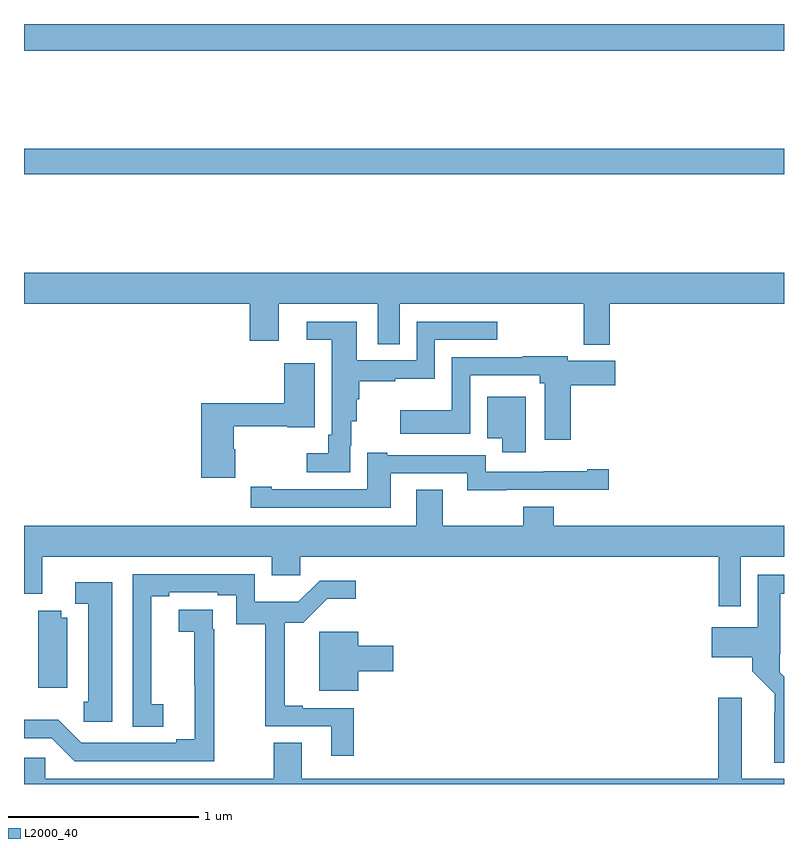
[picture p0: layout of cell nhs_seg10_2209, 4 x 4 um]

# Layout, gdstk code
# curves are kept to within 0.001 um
import gdstk
lib = gdstk.Library(unit=1e-6, precision=1e-09)
def R(c, l, rs):  # rectangles x0, y0, x1, y1
    for r in rs: c.add(gdstk.rectangle(r[:2], r[2:], *l))
def P(c, l, *ps):  # polygons
    for p in ps: c.add(gdstk.Polygon(p, *l))
L2000_40 = (2000, 40)

nhs_seg10_2209 = lib.new_cell('nhs_seg10_2209')
R(nhs_seg10_2209, L2000_40, [(229,1255.708,233,1255.844), (229,1256.36,233,1256.5)])
P(nhs_seg10_2209, L2000_40, [(232.082,1255.028),(233,1255.028),(233,1255.192),(229,1255.192),(229,1255.028),(230.189,1255.028),(230.189,1254.834),(230.341,1254.834),(230.341,1255.028),(230.861,1255.028),(230.861,1254.814),(230.977,1254.814),(230.977,1255.028),(231.946,1255.028),(231.946,1254.812),(232.082,1254.812)],
  [(230.718,1254.279),(230.723,1254.279),(230.723,1254.41),(230.752,1254.41),(230.752,1254.525),(230.765,1254.525),(230.765,1254.621),(230.954,1254.621),(230.954,1254.632),(231.162,1254.632),(231.162,1254.837),(231.49,1254.837),(231.49,1254.933),(231.066,1254.933),(231.066,1254.729),(230.752,1254.729),(230.752,1254.933),(230.487,1254.933),(230.487,1254.837),(230.621,1254.837),(230.621,1254.337),(230.602,1254.337),(230.602,1254.241),(230.487,1254.241),(230.487,1254.14),(230.718,1254.14)],
  [(231.878,1254.598),(232.111,1254.598),(232.111,1254.727),(231.861,1254.727),(231.861,1254.752),(231.626,1254.752),(231.626,1254.747),(231.252,1254.747),(231.252,1254.466),(230.979,1254.466),(230.979,1254.344),(231.348,1254.344),(231.348,1254.651),(231.715,1254.651),(231.715,1254.609),(231.74,1254.609),(231.74,1254.312),(231.878,1254.312)],
  [(230.112,1254.261),(230.104,1254.261),(230.104,1254.384),(230.385,1254.384),(230.385,1254.377),(230.53,1254.377),(230.53,1254.715),(230.369,1254.715),(230.369,1254.505),(229.934,1254.505),(229.934,1254.111),(230.112,1254.111)],
  [(231.64,1254.538),(231.437,1254.538),(231.437,1254.32),(231.518,1254.32),(231.518,1254.246),(231.64,1254.246)],
  [(230.929,1254.135),(231.333,1254.135),(231.333,1254.047),(231.539,1254.047),(231.539,1254.048),(232.078,1254.048),(232.078,1254.157),(231.965,1254.157),(231.965,1254.145),(231.736,1254.145),(231.736,1254.144),(231.429,1254.144),(231.429,1254.231),(230.911,1254.231),(230.911,1254.244),(230.807,1254.244),(230.807,1254.051),(230.305,1254.051),(230.305,1254.064),(230.193,1254.064),(230.193,1253.955),(230.929,1253.955)],
  [(232.773,1253.696),(233,1253.696),(233,1253.86),(231.788,1253.86),(231.788,1253.959),(231.628,1253.959),(231.628,1253.86),(231.205,1253.86),(231.205,1254.05),(231.065,1254.05),(231.065,1253.86),(229,1253.86),(229,1253.502),(229.096,1253.502),(229.096,1253.696),(230.303,1253.696),(230.303,1253.598),(230.455,1253.598),(230.455,1253.696),(232.657,1253.696),(232.657,1253.436),(232.773,1253.436)],
  [(230.735,1252.899),(230.467,1252.899),(230.467,1252.912),(230.372,1252.912),(230.372,1253.349),(230.471,1253.349),(230.597,1253.474),(230.746,1253.474),(230.746,1253.571),(230.556,1253.571),(230.443,1253.458),(230.214,1253.458),(230.214,1253.604),(229.572,1253.604),(229.572,1252.801),(229.732,1252.801),(229.732,1252.921),(229.671,1252.921),(229.671,1253.225),(229.669,1253.225),(229.669,1253.488),(229.765,1253.488),(229.765,1253.508),(230.021,1253.508),(230.021,1253.494),(230.118,1253.494),(230.118,1253.341),(230.269,1253.341),(230.269,1252.803),(230.618,1252.803),(230.618,1252.65),(230.735,1252.65)],
  [(233,1253.065),(232.977,1253.088),(232.977,1253.182),(232.981,1253.182),(232.981,1253.501),(233,1253.501),(233,1253.602),(232.862,1253.602),(232.862,1253.326),(232.62,1253.326),(232.62,1253.168),(232.832,1253.168),(232.832,1253.094),(232.95,1252.976),(232.949,1252.613),(233,1252.613)],
  [(229.465,1253.563),(229.269,1253.563),(229.269,1253.448),(229.337,1253.448),(229.337,1252.932),(229.315,1252.932),(229.315,1252.827),(229.465,1252.827)],
  [(230,1253.315),(229.994,1253.315),(229.994,1253.417),(229.815,1253.417),(229.815,1253.302),(229.897,1253.302),(229.898,1252.736),(229.802,1252.736),(229.802,1252.716),(229.302,1252.716),(229.181,1252.837),(229,1252.837),(229,1252.74),(229.146,1252.74),(229.266,1252.62),(230,1252.62)],
  [(229.228,1253.374),(229.196,1253.374),(229.196,1253.411),(229.076,1253.411),(229.076,1253.007),(229.228,1253.007)],
  [(230.758,1253.093),(230.944,1253.093),(230.944,1253.227),(230.758,1253.227),(230.758,1253.301),(230.555,1253.301),(230.555,1252.991),(230.758,1252.991)],
  [(229,1252.638),(229,1252.5),(233,1252.5),(233,1252.528),(232.777,1252.528),(232.777,1252.954),(232.655,1252.954),(232.655,1252.528),(230.461,1252.528),(230.461,1252.718),(230.314,1252.718),(230.314,1252.528),(229.113,1252.528),(229.113,1252.638)])

lib.write_gds('nhs_seg10_2209.gds')
